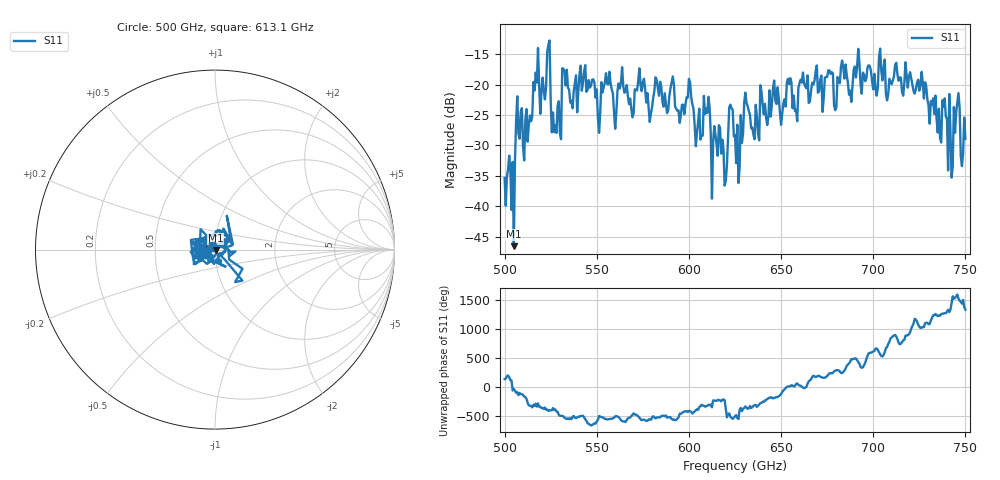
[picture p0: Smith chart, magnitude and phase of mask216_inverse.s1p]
!Created with skrf (http://scikit-rf.org).
# GHz S MA R 50.0
!freq magS11 angS11
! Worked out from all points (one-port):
!   401 points, 500 GHz to 750 GHz, reference 50 ohm
!   lowest |S11| = -46.5 dB at 505 GHz (marker M1), VSWR 1.01, Z = 50.4 - j0.31 ohm
!   |S11| at or under -10 dB: start of sweep to end of sweep
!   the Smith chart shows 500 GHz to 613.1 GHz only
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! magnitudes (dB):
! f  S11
! 500 GHz  -35.3
! 505 GHz  -46.5
! 507.5 GHz  -28.0
! 513.8 GHz  -25.1
! 516.9 GHz  -18.0
! 520.6 GHz  -18.8
! 523.8 GHz  -13.4
! 526.9 GHz  -27.8
! 531.2 GHz  -17.3
! 560 GHz  -27.3
! 562.5 GHz  -20.6
! 593.8 GHz  -24.3
! 609.4 GHz  -24.0
! 619.4 GHz  -36.6
! 622.5 GHz  -23.3
! 625 GHz  -28.3
! 656.2 GHz  -23.9
! 676.9 GHz  -18.2
! 680 GHz  -23.7
! 683.8 GHz  -17.2
! 687.5 GHz  -21.0
! 691.2 GHz  -17.1
! 718.8 GHz  -20.5
! 735.6 GHz  -24.0
! 738.8 GHz  -22.3
! 741.9 GHz  -27.7
! 745 GHz  -24.5
! 750 GHz  -28.9
